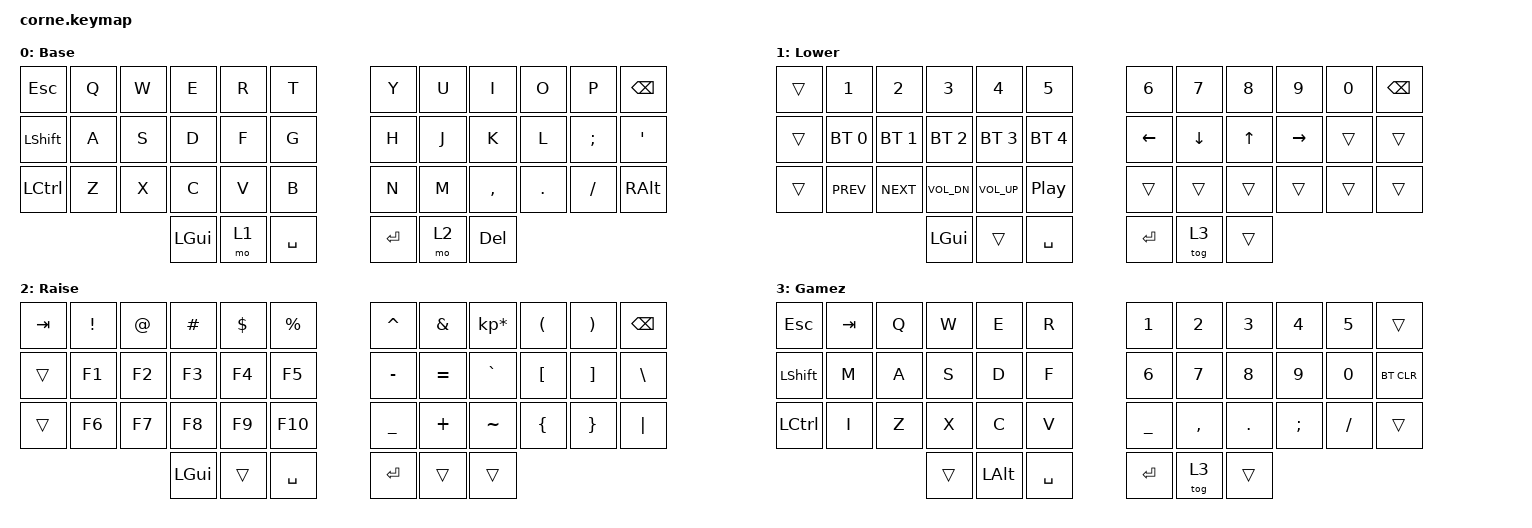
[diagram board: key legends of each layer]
/*
 * Copyright (c) 2020 The ZMK Contributors
 *
 * SPDX-License-Identifier: MIT
 */

#include <behaviors.dtsi>
#include <dt-bindings/zmk/keys.h>
#include <dt-bindings/zmk/bt.h>
#include <dt-bindings/zmk/ext_power.h>



/ {
        keymap {
                compatible = "zmk,keymap";

                default_layer {
// -----------------------------------------------------------------------------------------
// |  ESC |  Q  |  W  |  E  |  R  |  T  |   |  Y  |  U   |  I  |  O  |  P  | BKSP |
// | SHFT |  A  |  S  |  D  |  F  |  G  |   |  H  |  J   |  K  |  L  |  ;  |  '   |
// | CTRL |  Z  |  X  |  C  |  V  |  B  |   |  N  |  M   |  ,  |  .  |  /  | ALT  |
//                    | GUI | LWR | SPC |   | ENT | RSE  | DEL |
                        label = "Base";
                        bindings = <
   &kp ESC   &kp Q &kp W &kp E &kp R &kp T   &kp Y &kp U  &kp I     &kp O   &kp P    &kp BSPC
   &kp LSHFT &kp A &kp S &kp D &kp F &kp G   &kp H &kp J  &kp K     &kp L   &kp SEMI &kp SQT
   &kp LCTRL &kp Z &kp X &kp C &kp V &kp B   &kp N &kp M  &kp COMMA &kp DOT &kp FSLH &kp RALT 
                  &kp LGUI &mo 1 &kp SPACE   &kp RET &mo 2 &kp DEL 
                        >;
                };
                lower_layer {
// -----------------------------------------------------------------------------------------
// |      |  1  |  2  |  3  |  4  |  5  |   |  6  |  7  |  8  |  9  |  0  | BKSP |
// |      | BT1 | BT2 | BT3 | BT4 | BT5 |   | LFT | DWN |  UP | RGT |     |      |
// |      | Prv | Nxt | V-  | V+  | Ps  |   |     |     |     |     |     |      |
//                    | GUI |     | SPC |   | ENT | GME |     |
                        label = "Lower";
                        bindings = <
   &trans &kp N1       &kp N2       &kp N3       &kp N4       &kp N5         &kp N6   &kp N7   &kp N8 &kp N9    &kp N0 &kp BSPC
   &trans &bt BT_SEL 0 &bt BT_SEL 1 &bt BT_SEL 2 &bt BT_SEL 3 &bt BT_SEL 4   &kp LEFT &kp DOWN &kp UP &kp RIGHT &trans &trans
   &trans &kp C_PREV   &kp C_NEXT   &kp C_VOL_DN &kp C_VOL_UP &kp C_PP       &trans   &trans   &trans &trans    &trans &trans
                          	        &kp LGUI     &trans       &kp SPACE      &kp RET  &tog 3   &trans 
                        >;
                };

                raise_layer {
// -----------------------------------------------------------------------------------------
// |  TAB |  !  |  @  |  #  |  $  |  %  |   |  ^  |  &  |  *  |  (  |  )  | BKSP |
// |      | F1  | F2  | F3  | F4  | F5  |   |  -  |  =  |  `  |  [  |  ]  |  \   |
// |      | F6  | F7  | F8  | F9  | F10 |   |  _  |  +  |  ~  |  {  |  }  | "|"  |
//                    | GUI |     | SPC |   | ENT |     |     |
                        label = "Raise";
                        bindings = <
   &kp  TAB  &kp EXCL &kp AT &kp HASH &kp DLLR &kp PRCNT   &kp CARET &kp AMPS  &kp KP_MULTIPLY &kp LPAR &kp RPAR &kp BSPC
   &trans    &kp F1   &kp F2 &kp F3   &kp F4   &kp F5      &kp MINUS &kp EQUAL &kp GRAVE       &kp LBKT &kp RBKT &kp BSLH
   &trans    &kp F6   &kp F7 &kp F8   &kp F9   &kp F10     &kp UNDER &kp PLUS  &kp TILDE       &kp LBRC &kp RBRC &kp PIPE
                    	     &kp LGUI &trans   &kp SPACE   &kp RET   &trans    &trans 
                        >;
                };

                gamming_layer {
// -----------------------------------------------------------------------------------------
// |  ESC  | Tab |  Q  |  W  |  E  |  R  |   |  1  |  2   |  3  |  4  |  5  |        |
// |  SHFT |  M  |  A  |  S  |  D  |  F  |   |  6  |  7   |  8  |  9  |  0  | BT_CLR |
// |  CTRL |  I  |  Z  |  X  |  C  |  V  |   |  _  |  ,   |  .  |  ;  |  /  |        |
//                     |     | Alt | SPC |   | ENT | BASE |     |
                        label = "Gamez";
                        bindings = <
   &kp ESC   &kp TAB &kp Q &kp W &kp E &kp R   &kp N1    &kp N2    &kp N3  &kp N4   &kp N5   &trans 
   &kp LSHFT &kp M   &kp A &kp S &kp D &kp F   &kp N6    &kp N7    &kp N8  &kp N9   &kp N0   &bt BT_CLR 
   &kp LCTRL &kp I   &kp Z &kp X &kp C &kp V   &kp UNDER &kp COMMA &kp DOT &kp SEMI &kp FSLH &trans
                   &trans &kp LALT &kp SPACE   &kp RET   &tog 3  &trans 
                        >;
                };

        };
};
